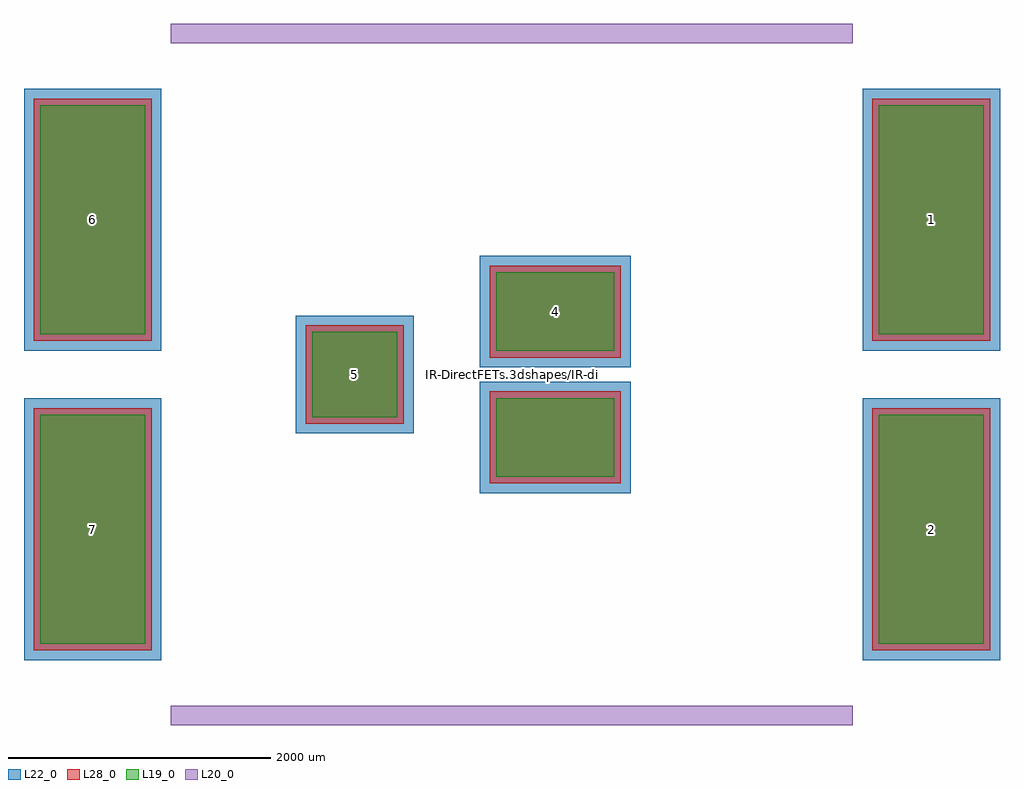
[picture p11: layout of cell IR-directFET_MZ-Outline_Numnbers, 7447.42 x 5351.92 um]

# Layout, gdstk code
import gdstk
lib = gdstk.Library(unit=1e-6, precision=1e-09)
def R(c, l, rs):  # rectangles x0, y0, x1, y1
    for r in rs: c.add(gdstk.rectangle(r[:2], r[2:], *l))
L19_0 = (19, 0)
L20_0 = (20, 0)
L22_0 = (22, 0)
L28_0 = (28, 0)

ir_directfet_mz_outline_ = lib.new_cell('IR-directFET_MZ-Outline_Numnbers')
R(ir_directfet_mz_outline_, L19_0, [(-3597.44,-2055.66,-2798.28,-306.54), (2800.82,-2055.66,3599.98,-306.54), (-120.18,-780.58,780.58,-179.54), (-1523.53,-324.65,-874.23,324.65), (-120.18,179.54,780.58,780.58), (-3597.44,306.54,-2798.28,2055.66), (2800.82,306.54,3599.98,2055.66)])
R(ir_directfet_mz_outline_, L22_0, [(-3722.44,-2180.66,-2673.28,-181.54), (2675.82,-2180.66,3724.98,-181.54), (-245.18,-905.58,905.58,-54.54), (-1648.53,-449.65,-749.23,449.65), (-245.18,54.54,905.58,905.58), (-3722.44,181.54,-2673.28,2180.66), (2675.82,181.54,3724.98,2180.66)])
R(ir_directfet_mz_outline_, L28_0, [(-3647.44,-2105.66,-2748.28,-256.54), (2750.82,-2105.66,3649.98,-256.54), (-170.18,-830.58,830.58,-129.54), (-1573.53,-374.65,-824.23,374.65), (-170.18,129.54,830.58,830.58), (-3647.44,256.54,-2748.28,2105.66), (2750.82,256.54,3649.98,2105.66)])
ir_directfet_mz_outline_.add(gdstk.FlexPath([(-2600.96,2600.96),(2600.96,2600.96)], 149.998, ends="flush", simple_path=True, layer=20, datatype=0))  # L20_0
ir_directfet_mz_outline_.add(gdstk.FlexPath([(2600.96,-2600.96),(-2600.96,-2600.96)], 149.998, ends="flush", simple_path=True, layer=20, datatype=0))  # L20_0
ir_directfet_mz_outline_.add(gdstk.Label('IR-DirectFETs.3dshapes/IR-directFET_MZ-Outline_Numnbers.wrl', (0,0), layer=12, texttype=0))
ir_directfet_mz_outline_.add(gdstk.Label('2', (3200.4,-1181.1), layer=28, texttype=0))
ir_directfet_mz_outline_.add(gdstk.Label('1', (3200.4,1181.1), layer=28, texttype=0))
ir_directfet_mz_outline_.add(gdstk.Label('7', (-3197.86,-1181.1), layer=28, texttype=0))
ir_directfet_mz_outline_.add(gdstk.Label('6', (-3197.86,1181.1), layer=28, texttype=0))
ir_directfet_mz_outline_.add(gdstk.Label('4', (330.2,480.06), layer=28, texttype=0))
ir_directfet_mz_outline_.add(gdstk.Label('5', (-1198.88,0), layer=28, texttype=0))
ir_directfet_mz_outline_.add(gdstk.Label('type', (0,-4826), layer=9, texttype=0))
ir_directfet_mz_outline_.add(gdstk.Label('devicename', (-99.06,4699), layer=9, texttype=0))

lib.write_gds('IR-directFET_MZ-Outline_Numnbers.gds')
